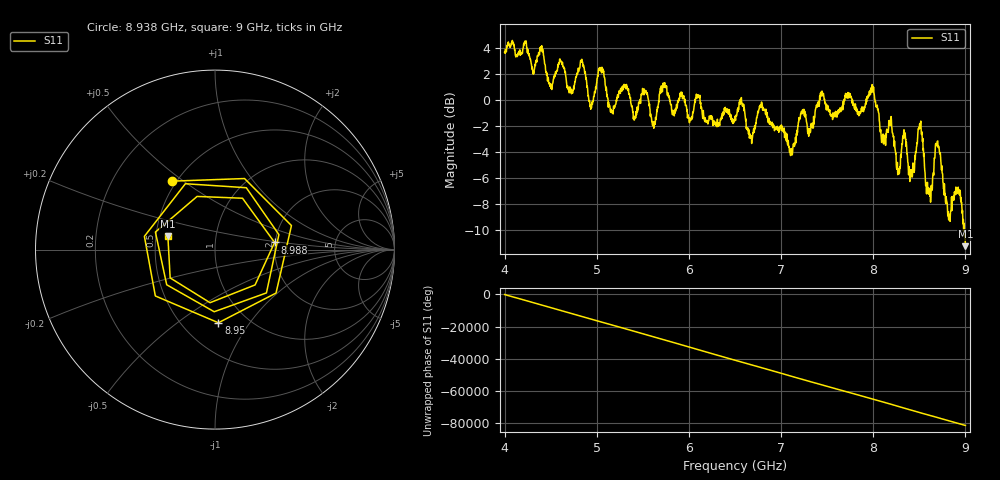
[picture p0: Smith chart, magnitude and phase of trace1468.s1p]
! Created with skrf 1.8.0 (http://scikit-rf.org).
# Hz S RI R 50.0
!freq ReS11 ImS11
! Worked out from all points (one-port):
!   1601 points, 4 GHz to 9 GHz, reference 50 ohm
!   lowest |S11| = -11.3 dB at 9 GHz (marker M1), VSWR 1.75, Z = 28.9 + j4.74 ohm
!   |S11| at or under -10 dB: 8.980656 GHz to 8.981922 GHz (1.265 MHz wide, 0.0141 % of centre); 8.989439 GHz to end of sweep
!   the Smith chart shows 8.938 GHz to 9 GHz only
!   S11 on the Smith chart (normalised r, x): 8.938 GHz: 0.47, +0.45; 8.95 GHz: 0.74, -0.72; 8.988 GHz: 1.98, +0.18; 9 GHz: 0.58, +0.09
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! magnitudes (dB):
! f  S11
! 4 GHz  3.7
! 4.625 GHz  2.8
! 4.722 GHz  0.8
! 4.844 GHz  2.9
! 4.938 GHz  -0.6
! 5.041 GHz  2.3
! 5.153 GHz  -0.8
! 5.25 GHz  0.6
! 5.616 GHz  -1.9
! 5.716 GHz  1.1
! 5.875 GHz  -0.5
! 6.5 GHz  -1.3
! 6.681 GHz  -3.4
! 6.791 GHz  -0.2
! 7.125 GHz  -4.0
! 7.234 GHz  -0.8
! 7.75 GHz  0.4
! 7.988 GHz  1.2
! 8.109 GHz  -2.7
! 8.375 GHz  -4.8
! 8.506 GHz  -1.9
! 8.6 GHz  -7.1
! 8.697 GHz  -3.2
! 8.809 GHz  -8.9
! 8.938 GHz  -6.9
! 8.95 GHz  -7.8
! 8.988 GHz  -9.5
! 9 GHz  -11.3
